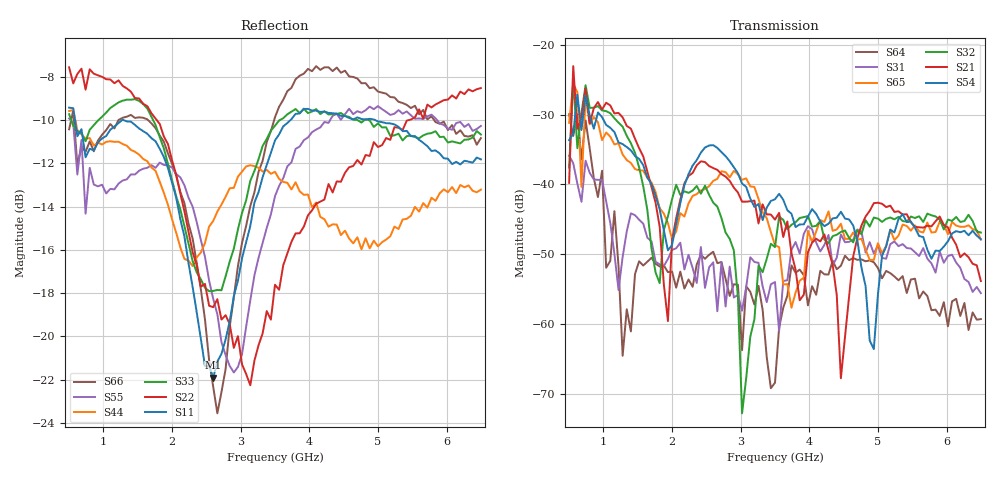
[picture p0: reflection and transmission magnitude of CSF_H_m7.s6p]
!Keysight Technologies,M9804A,MY58100912,A.14.10.03
!Date: Thursday, April 27, 2023 10:28:33
!Correction: S11(C  6-Port  )
!S12(C  6-Port  )
!S13(C  6-Port  )
!S14(C  6-Port  )
!S15(C  6-Port  )
!S16(C  6-Port  )
!S21(C  6-Port  )
!S22(C  6-Port  )
!S23(C  6-Port  )
!S24(C  6-Port  )
!S25(C  6-Port  )
!S26(C  6-Port  )
!S31(C  6-Port  )
!S32(C  6-Port  )
!S33(C  6-Port  )
!S34(C  6-Port  )
!S35(C  6-Port  )
!S36(C  6-Port  )
!S41(C  6-Port  )
!S42(C  6-Port  )
!S43(C  6-Port  )
!S44(C  6-Port  )
!S45(C  6-Port  )
!S46(C  6-Port  )
!S51(C  6-Port  )
!S52(C  6-Port  )
!S53(C  6-Port  )
!S54(C  6-Port  )
!S55(C  6-Port  )
!S56(C  6-Port  )
!S61(C  6-Port  )
!S62(C  6-Port  )
!S63(C  6-Port  )
!S64(C  6-Port  )
!S65(C  6-Port  )
!S66(C  6-Port  )
!S6P File: Measurement: :
# Hz S  RI  R 50
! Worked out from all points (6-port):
!   101 points, 500 MHz to 6.5 GHz, reference 50 ohm
!   strongest paths, dB at 500 MHz, 2 GHz, 3.5 GHz, 5 GHz, 6.5 GHz:
!     S54: -33.6, -48.7, -42.1, -55.8, -47.9
!     S21: -39.8, -48.0, -45.1, -42.6, -53.9
!     S32: -37.6, -42.1, -49.0, -44.9, -46.9
!     S65: -31.2, -47.8, -48.7, -48.4, -47.9
!     S31: -35.9, -49.4, -54.0, -48.7, -55.6
!     S64: -29.9, -52.5, -68.4, -52.0, -59.3
!   lowest |S11| = -21.9 dB at 2.6 GHz (marker M1), VSWR 1.17, Z = 42.8 + j1.87 ohm
!   |S11| at or under -10 dB: 585.3 MHz to 1.275 GHz (689.6 MHz wide, 74.1 % of centre); 1.29 GHz to 3.727 GHz (2.436 GHz wide, 97.1 % of centre); 4.957 GHz to end of sweep
